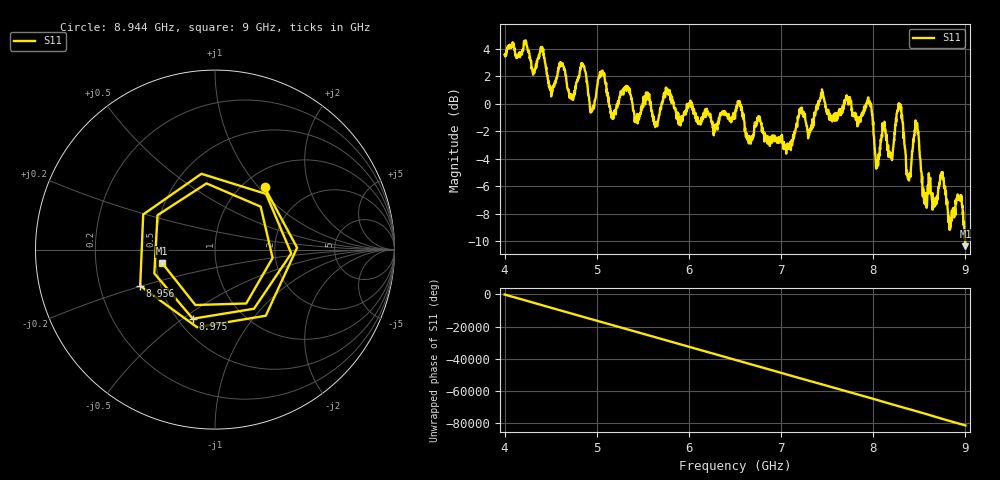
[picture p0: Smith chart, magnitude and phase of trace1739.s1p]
! Created with skrf 1.8.0 (http://scikit-rf.org).
# Hz S RI R 50.0
!freq ReS11 ImS11
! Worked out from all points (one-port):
!   1601 points, 4 GHz to 9 GHz, reference 50 ohm
!   lowest |S11| = -10.4 dB at 9 GHz (marker M1), VSWR 1.87, Z = 27 - j4.51 ohm
!   |S11| at or under -10 dB: 8.998374 GHz to end of sweep
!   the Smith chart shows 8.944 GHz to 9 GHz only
!   S11 on the Smith chart (normalised r, x): 8.944 GHz: 1.25, +1.08; 8.956 GHz: 0.38, -0.20; 8.975 GHz: 0.59, -0.55; 9 GHz: 0.54, -0.09
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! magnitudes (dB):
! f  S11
! 4 GHz  3.6
! 4.403 GHz  3.9
! 4.506 GHz  0.5
! 4.625 GHz  2.9
! 4.731 GHz  0.5
! 4.856 GHz  2.7
! 4.947 GHz  -0.5
! 5.056 GHz  2.3
! 5.162 GHz  -0.9
! 5.25 GHz  0.5
! 5.875 GHz  -0.7
! 6.5 GHz  -1.1
! 7.125 GHz  -2.6
! 7.438 GHz  0.6
! 7.75 GHz  0.0
! 7.959 GHz  0.2
! 8.044 GHz  -4.1
! 8.112 GHz  -1.5
! 8.197 GHz  -3.7
! 8.288 GHz  -0.1
! 8.375 GHz  -5.4
! 8.469 GHz  -1.7
! 8.559 GHz  -6.6
! 8.838 GHz  -8.8
! 8.944 GHz  -7.1
! 8.956 GHz  -6.7
! 8.975 GHz  -7.9
! 9 GHz  -10.4
